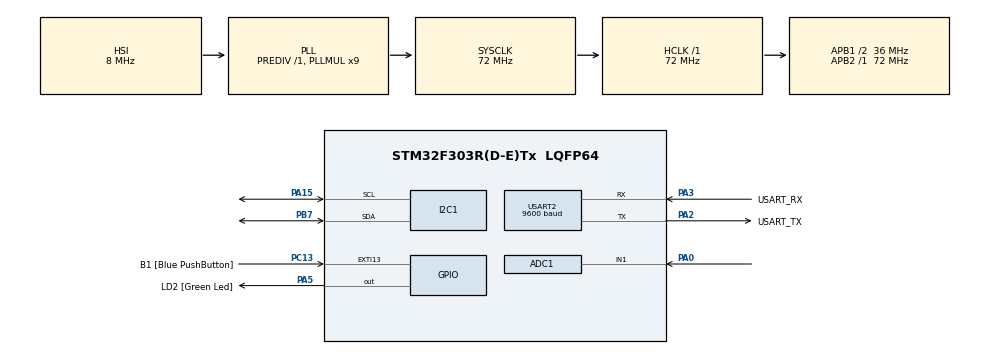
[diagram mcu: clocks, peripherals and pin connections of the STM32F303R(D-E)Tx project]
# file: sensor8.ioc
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ADC1.Channel-0\#ChannelRegularConversion=ADC_CHANNEL_1
ADC1.ContinuousConvMode=DISABLE
ADC1.NbrOfConversionFlag=1
ADC1.Offset-0\#ChannelRegularConversion=0
ADC1.OffsetNumber-0\#ChannelRegularConversion=ADC_OFFSET_NONE
ADC1.Rank-0\#ChannelRegularConversion=1
ADC1.SamplingTime-0\#ChannelRegularConversion=ADC_SAMPLETIME_1CYCLE_5
ADC1.SamplingTimeOPAMP-0\#ChannelRegularConversion=ADC_SAMPLETIME_61CYCLES_5
ADC1.master=1
Mcu.Family=STM32F3
Mcu.Name=STM32F303R(D-E)Tx
Mcu.Package=LQFP64
NVIC.PriorityGroup=NVIC_PRIORITYGROUP_0
PA0.Mode=IN1-Single-Ended
PA0.Signal=ADC1_IN1
PA13.GPIO_Label=TMS
PA13.Mode=Serial_Wire
PA13.Signal=SYS_JTMS-SWDIO
PA14.GPIO_Label=TCK
PA14.Mode=Serial_Wire
PA14.Signal=SYS_JTCK-SWCLK
PA15.Mode=I2C
PA15.Signal=I2C1_SCL
PA2.GPIO_Label=USART_TX
PA2.GPIO_Mode=GPIO_MODE_AF_PP
PA2.GPIO_PuPd=GPIO_NOPULL
PA2.GPIO_Speed=GPIO_SPEED_FREQ_LOW
PA2.Mode=Asynchronous
PA2.Signal=USART2_TX
PA3.GPIO_Label=USART_RX
PA3.GPIO_Mode=GPIO_MODE_AF_PP
PA3.GPIO_PuPd=GPIO_NOPULL
PA3.GPIO_Speed=GPIO_SPEED_FREQ_LOW
PA3.Mode=Asynchronous
PA3.Signal=USART2_RX
PA5.GPIO_Label=LD2 [Green Led]
PA5.GPIO_Mode=GPIO_MODE_OUTPUT_PP
PA5.GPIO_PuPd=GPIO_NOPULL
PA5.GPIO_Speed=GPIO_SPEED_FREQ_LOW
PA5.Signal=GPIO_Output
PB3.GPIO_Label=SWO
PB3.Signal=SYS_JTDO-TRACESWO
PB7.Mode=I2C
PB7.Signal=I2C1_SDA
PC13.GPIO_Label=B1 [Blue PushButton]
PC13.GPIO_ModeDefaultEXTI=GPIO_MODE_IT_FALLING
PC13.Signal=GPXTI13
PC14-OSC32_IN.Mode=LSE-External-Oscillator
PC14-OSC32_IN.Signal=RCC_OSC32_IN
PC15-OSC32_OUT.Mode=LSE-External-Oscillator
PC15-OSC32_OUT.Signal=RCC_OSC32_OUT
PF0-OSC_IN.Mode=HSE-External-Clock-Source
PF0-OSC_IN.Signal=RCC_OSC_IN
PF1-OSC_OUT.Signal=RCC_OSC_OUT
ProjectManager.HeapSize=0x200
ProjectManager.StackSize=0x400
ProjectManager.TargetToolchain=STM32CubeIDE
RCC.AHBFreq_Value=72000000
RCC.APB1CLKDivider=RCC_HCLK_DIV2
RCC.APB1Freq_Value=36000000
RCC.APB1TimFreq_Value=72000000
RCC.APB2Freq_Value=72000000
RCC.APB2TimFreq_Value=72000000
RCC.CortexFreq_Value=72000000
RCC.HCLKFreq_Value=72000000
RCC.HSE_VALUE=8000000
RCC.HSI_VALUE=8000000
RCC.PLLM=8
RCC.PLLMUL=RCC_PLL_MUL9
RCC.PLLN=336
RCC.PLLP=RCC_PLLP_DIV4
RCC.PLLQ=7
RCC.RCC_PLLsource_Clock_Source_FROM_HSE=RCC_HSE_PREDIV_DIV2
RCC.SYSCLKFreq_VALUE=72000000
RCC.SYSCLKSourceVirtual=RCC_SYSCLKSOURCE_PLLCLK
RCC.USBFreq_Value=72000000
USART2.BaudRate=9600
USART2.VirtualMode-Asynchronous=VM_ASYNC
board=NUCLEO-F303RE

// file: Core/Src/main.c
/* USER CODE BEGIN Header */
/**
  ******************************************************************************
  * @file           : main.c
  * @brief          : Main program body
  ******************************************************************************
  * @attention
  *
  * Copyright (c) 2022 STMicroelectronics.
  * All rights reserved.
  *
  * This software is licensed under terms that can be found in the LICENSE file
  * in the root directory of this software component.
  * If no LICENSE file comes with this software, it is provided AS-IS.
  *
  ******************************************************************************
  */
/* USER CODE END Header */
#include "main.h"

/* USER CODE BEGIN Includes */
#include "math.h"
#include "stdio.h"
#include "BME280_STM32.h"

/* USER CODE END Includes */

ADC_HandleTypeDef hadc1;

I2C_HandleTypeDef hi2c1;

UART_HandleTypeDef huart2;

/* USER CODE BEGIN PV */
int cont=0;
int error=0;
char cadena_temp[14] = "Temperatura= ";
char cadena_presion[10] = "Presion= ";
char cadena_UV[5] = "UV = ";
char cadena_altitud[9] = "Altitud= ";

/* USER CODE END PV */

void SystemClock_Config(void);
static void MX_GPIO_Init(void);
static void MX_USART2_UART_Init(void);
static void MX_ADC1_Init(void);
static void MX_I2C1_Init(void);
/* USER CODE BEGIN PFP */

int __io_putchar(int ch){
	HAL_UART_Transmit(&huart2, (uint8_t *)&ch, 1, 1000);
	return ch;
}

/* USER CODE END PFP */

/* USER CODE BEGIN 0 */

float Temperature, Pressure, Humidity, lectura_sensorUV, UV, altitud;

/* USER CODE END 0 */

int main(void)
{

  /* MCU Configuration--------------------------------------------------------*/

  /* Reset of all peripherals, Initializes the Flash interface and the Systick. */
  HAL_Init();

  /* Configure the system clock */
  SystemClock_Config();

  /* Initialize all configured peripherals */
  MX_GPIO_Init();
  MX_USART2_UART_Init();
  MX_ADC1_Init();
  MX_I2C1_Init();
  /* USER CODE BEGIN 2 */
  BME280_Config(OSRS_2, OSRS_16, OSRS_1, MODE_NORMAL, T_SB_0p5, IIR_16);

  /* USER CODE END 2 */

  /* Infinite loop */
  while (1)
  {

    /* USER CODE BEGIN 3 */

	  cont++;

	  //if(error == 1){
	  //BME280_Config(OSRS_2, OSRS_16, OSRS_1, MODE_NORMAL, T_SB_0p5, IIR_16);
		 // error = 0;
	  //}

	  HAL_ADC_Start(&hadc1);

	  lectura_sensorUV=HAL_ADC_GetValue(&hadc1);
	  lectura_sensorUV=lectura_sensorUV*0.000625;
	  if (lectura_sensorUV <= 1)lectura_sensorUV=1;

	  UV=((lectura_sensorUV -1)/0.1133);

	  BME280_Measure();

	  // Calcular Altitud:
	  altitud = 44330 *(1.0 - pow(Pressure / 101200, 0.1903));

	  // Visualizacion de Variables:

	  if (Temperature < -100 || altitud <= 0 || Pressure==0 ){
		  printf("\nError de Sensor\n");
		  HAL_NVIC_SystemReset();
	  }
	  else{
		  printf("\n\nLectura: %d\n\tTemperatura= %.2f C\n\tPresion= %.2f hPa\n\tUV= %.2f uW/cm2\n\tAltitud= %.2f m\n",cont,Temperature,Pressure/100,UV,altitud);
	  }

	  if (altitud < 1000){HAL_Delay(1000);}		//Pasar a 15000 antes del lanzamiento
	  else {HAL_Delay(180000);}

  }
  /* USER CODE END 3 */
}

void SystemClock_Config(void)
{
  RCC_OscInitTypeDef RCC_OscInitStruct = {0};
  RCC_ClkInitTypeDef RCC_ClkInitStruct = {0};
  RCC_PeriphCLKInitTypeDef PeriphClkInit = {0};

  /** Initializes the RCC Oscillators according to the specified parameters
  * in the RCC_OscInitTypeDef structure.
  */
  RCC_OscInitStruct.OscillatorType = RCC_OSCILLATORTYPE_HSI;
  RCC_OscInitStruct.HSIState = RCC_HSI_ON;
  RCC_OscInitStruct.HSICalibrationValue = RCC_HSICALIBRATION_DEFAULT;
  RCC_OscInitStruct.PLL.PLLState = RCC_PLL_ON;
  RCC_OscInitStruct.PLL.PLLSource = RCC_PLLSOURCE_HSI;
  RCC_OscInitStruct.PLL.PLLMUL = RCC_PLL_MUL9;
  RCC_OscInitStruct.PLL.PREDIV = RCC_PREDIV_DIV1;
  if (HAL_RCC_OscConfig(&RCC_OscInitStruct) != HAL_OK)
  {
    Error_Handler();
  }

  /** Initializes the CPU, AHB and APB buses clocks
  */
  RCC_ClkInitStruct.ClockType = RCC_CLOCKTYPE_HCLK|RCC_CLOCKTYPE_SYSCLK
                              |RCC_CLOCKTYPE_PCLK1|RCC_CLOCKTYPE_PCLK2;
  RCC_ClkInitStruct.SYSCLKSource = RCC_SYSCLKSOURCE_PLLCLK;
  RCC_ClkInitStruct.AHBCLKDivider = RCC_SYSCLK_DIV1;
  RCC_ClkInitStruct.APB1CLKDivider = RCC_HCLK_DIV2;
  RCC_ClkInitStruct.APB2CLKDivider = RCC_HCLK_DIV1;

  if (HAL_RCC_ClockConfig(&RCC_ClkInitStruct, FLASH_LATENCY_2) != HAL_OK)
  {
    Error_Handler();
  }
  PeriphClkInit.PeriphClockSelection = RCC_PERIPHCLK_USART2|RCC_PERIPHCLK_I2C1
                              |RCC_PERIPHCLK_ADC12;
  PeriphClkInit.Usart2ClockSelection = RCC_USART2CLKSOURCE_PCLK1;
  PeriphClkInit.Adc12ClockSelection = RCC_ADC12PLLCLK_DIV1;
  PeriphClkInit.I2c1ClockSelection = RCC_I2C1CLKSOURCE_HSI;
  if (HAL_RCCEx_PeriphCLKConfig(&PeriphClkInit) != HAL_OK)
  {
    Error_Handler();
  }
}

static void MX_ADC1_Init(void)
{

  ADC_MultiModeTypeDef multimode = {0};
  ADC_ChannelConfTypeDef sConfig = {0};

  /** Common config
  */
  hadc1.Instance = ADC1;
  hadc1.Init.ClockPrescaler = ADC_CLOCK_ASYNC_DIV1;
  hadc1.Init.Resolution = ADC_RESOLUTION_12B;
  hadc1.Init.ScanConvMode = ADC_SCAN_DISABLE;
  hadc1.Init.ContinuousConvMode = DISABLE;
  hadc1.Init.DiscontinuousConvMode = DISABLE;
  hadc1.Init.ExternalTrigConvEdge = ADC_EXTERNALTRIGCONVEDGE_NONE;
  hadc1.Init.ExternalTrigConv = ADC_SOFTWARE_START;
  hadc1.Init.DataAlign = ADC_DATAALIGN_RIGHT;
  hadc1.Init.NbrOfConversion = 1;
  hadc1.Init.DMAContinuousRequests = DISABLE;
  hadc1.Init.EOCSelection = ADC_EOC_SINGLE_CONV;
  hadc1.Init.LowPowerAutoWait = DISABLE;
  hadc1.Init.Overrun = ADC_OVR_DATA_OVERWRITTEN;
  if (HAL_ADC_Init(&hadc1) != HAL_OK)
  {
    Error_Handler();
  }

  /** Configure the ADC multi-mode
  */
  multimode.Mode = ADC_MODE_INDEPENDENT;
  if (HAL_ADCEx_MultiModeConfigChannel(&hadc1, &multimode) != HAL_OK)
  {
    Error_Handler();
  }

  /** Configure Regular Channel
  */
  sConfig.Channel = ADC_CHANNEL_1;
  sConfig.Rank = ADC_REGULAR_RANK_1;
  sConfig.SingleDiff = ADC_SINGLE_ENDED;
  sConfig.SamplingTime = ADC_SAMPLETIME_1CYCLE_5;
  sConfig.OffsetNumber = ADC_OFFSET_NONE;
  sConfig.Offset = 0;
  if (HAL_ADC_ConfigChannel(&hadc1, &sConfig) != HAL_OK)
  {
    Error_Handler();
  }

}

static void MX_I2C1_Init(void)
{

  hi2c1.Instance = I2C1;
  hi2c1.Init.Timing = 0x2000090E;
  hi2c1.Init.OwnAddress1 = 0;
  hi2c1.Init.AddressingMode = I2C_ADDRESSINGMODE_7BIT;
  hi2c1.Init.DualAddressMode = I2C_DUALADDRESS_DISABLE;
  hi2c1.Init.OwnAddress2 = 0;
  hi2c1.Init.OwnAddress2Masks = I2C_OA2_NOMASK;
  hi2c1.Init.GeneralCallMode = I2C_GENERALCALL_DISABLE;
  hi2c1.Init.NoStretchMode = I2C_NOSTRETCH_DISABLE;
  if (HAL_I2C_Init(&hi2c1) != HAL_OK)
  {
    Error_Handler();
  }

  /** Configure Analogue filter
  */
  if (HAL_I2CEx_ConfigAnalogFilter(&hi2c1, I2C_ANALOGFILTER_ENABLE) != HAL_OK)
  {
    Error_Handler();
  }

  /** Configure Digital filter
  */
  if (HAL_I2CEx_ConfigDigitalFilter(&hi2c1, 0) != HAL_OK)
  {
    Error_Handler();
  }

}

static void MX_USART2_UART_Init(void)
{

  huart2.Instance = USART2;
  huart2.Init.BaudRate = 9600;
  huart2.Init.WordLength = UART_WORDLENGTH_8B;
  huart2.Init.StopBits = UART_STOPBITS_1;
  huart2.Init.Parity = UART_PARITY_NONE;
  huart2.Init.Mode = UART_MODE_TX_RX;
  huart2.Init.HwFlowCtl = UART_HWCONTROL_NONE;
  huart2.Init.OverSampling = UART_OVERSAMPLING_16;
  huart2.Init.OneBitSampling = UART_ONE_BIT_SAMPLE_DISABLE;
  huart2.AdvancedInit.AdvFeatureInit = UART_ADVFEATURE_NO_INIT;
  if (HAL_UART_Init(&huart2) != HAL_OK)
  {
    Error_Handler();
  }

}

static void MX_GPIO_Init(void)
{
  GPIO_InitTypeDef GPIO_InitStruct = {0};

  /* GPIO Ports Clock Enable */
  __HAL_RCC_GPIOC_CLK_ENABLE();
  __HAL_RCC_GPIOF_CLK_ENABLE();
  __HAL_RCC_GPIOA_CLK_ENABLE();
  __HAL_RCC_GPIOB_CLK_ENABLE();

  /*Configure GPIO pin Output Level */
  HAL_GPIO_WritePin(LD2_GPIO_Port, LD2_Pin, GPIO_PIN_RESET);

  /*Configure GPIO pin : B1_Pin */
  GPIO_InitStruct.Pin = B1_Pin;
  GPIO_InitStruct.Mode = GPIO_MODE_IT_FALLING;
  GPIO_InitStruct.Pull = GPIO_NOPULL;
  HAL_GPIO_Init(B1_GPIO_Port, &GPIO_InitStruct);

  /*Configure GPIO pin : LD2_Pin */
  GPIO_InitStruct.Pin = LD2_Pin;
  GPIO_InitStruct.Mode = GPIO_MODE_OUTPUT_PP;
  GPIO_InitStruct.Pull = GPIO_NOPULL;
  GPIO_InitStruct.Speed = GPIO_SPEED_FREQ_LOW;
  HAL_GPIO_Init(LD2_GPIO_Port, &GPIO_InitStruct);

}

void Error_Handler(void)
{
  __disable_irq();
  while (1)
  {
  }
}
